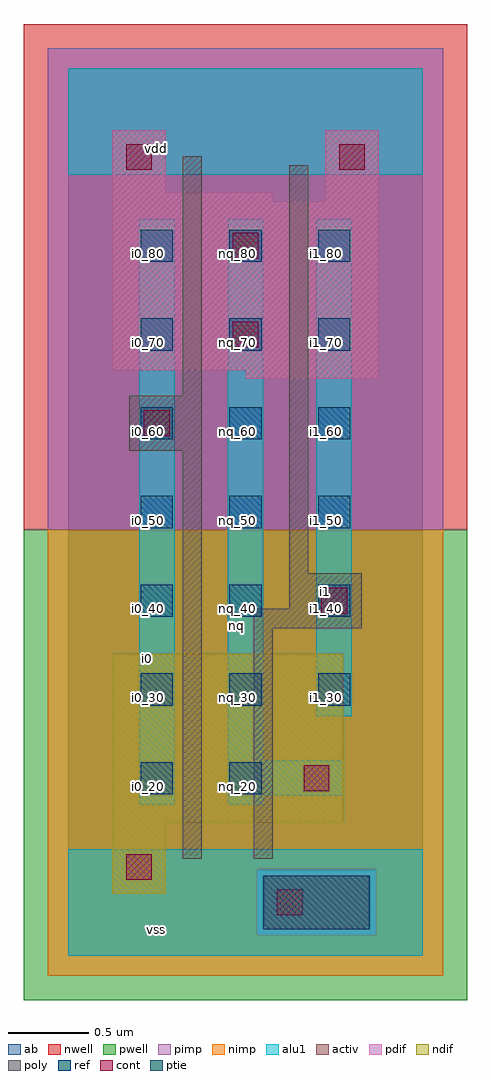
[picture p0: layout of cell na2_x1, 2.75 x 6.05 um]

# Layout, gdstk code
import gdstk
lib = gdstk.Library(unit=1e-6, precision=2.5e-09)
def R(c, l, rs):  # rectangles x0, y0, x1, y1
    for r in rs: c.add(gdstk.rectangle(r[:2], r[2:], *l))
def A(c, l, x, y, w, h, nx, ny, dx, dy):  # array of equal rectangles
    R(c, l, [(x+i*dx, y+j*dy, x+i*dx+w, y+j*dy+h) for i in range(nx) for j in range(ny)])
ndif = (3, 0)
pdif = (4, 0)
ptie = (6, 0)
ref = (24, 0)
cont = (25, 0)
pwell = (41, 0)
nwell = (42, 0)
activ = (43, 0)
pimp = (44, 0)
nimp = (45, 0)
poly = (46, 0)
alu1 = (49, 0)
ab = (63, 0)

na2_x1 = lib.new_cell('na2_x1')
R(na2_x1, ndif, [(0.275,0.385,0.605,0.825), (0.275,0.825,1.705,1.87)])
R(na2_x1, pdif, [(1.1,3.575,1.925,3.63), (0.275,3.63,1.925,4.675), (0.275,4.675,1.265,4.73), (1.595,4.675,1.925,5.115), (0.275,4.73,0.605,5.115)])
R(na2_x1, ptie, [(1.21,0.165,1.87,0.495)])
A(na2_x1, ref, 0.45, 1.55, 0.2, 0.2, 3, 6, 0.55, 0.55)
R(na2_x1, ref, [(0.45,1,0.65,1.2), (1,1,1.2,1.2)])
R(na2_x1, cont, [(1.295,0.25,1.455,0.41), (0.36,0.47,0.52,0.63), (1.46,1.02,1.62,1.18), (1.57,2.12,1.73,2.28), (0.47,3.22,0.63,3.38), (1.02,3.77,1.18,3.93), (1.02,4.32,1.18,4.48), (0.36,4.87,0.52,5.03), (1.68,4.87,1.84,5.03)])
R(na2_x1, pwell, [(-0.275,-0.275,2.475,2.64)])
R(na2_x1, nwell, [(-0.275,2.64,2.475,5.775)])
R(na2_x1, activ, [(1.21,0.165,1.87,0.495), (0.275,0.385,0.605,0.825), (0.275,0.825,1.705,1.87), (1.1,3.575,1.925,3.63), (0.275,3.63,1.925,4.675), (0.275,4.675,1.265,4.73), (1.595,4.675,1.925,5.115), (0.275,4.73,0.605,5.115)])
R(na2_x1, pimp, [(1.17,0.125,1.91,0.535), (-0.125,2.64,2.325,5.625)])
R(na2_x1, nimp, [(-0.125,-0.125,2.325,0.125), (-0.125,0.125,1.17,0.535), (1.91,0.125,2.325,0.535), (-0.125,0.535,2.325,2.64)])
R(na2_x1, poly, [(0.71,0.6,0.83,3.13), (1.15,0.6,1.27,2.03), (1.15,2.03,1.82,2.15), (1.37,2.15,1.82,2.37), (1.37,2.37,1.49,4.9), (0.38,3.13,0.83,3.47), (0.71,3.47,0.83,4.955)])
R(na2_x1, alu1, [(0,0,2.2,0.66), (0.44,0.935,0.66,4.565), (0.99,0.935,1.21,0.99), (0.99,0.99,1.705,1.21), (0.99,1.21,1.21,4.565), (1.54,1.485,1.76,4.565), (0,4.84,2.2,5.5)])
R(na2_x1, ab, [(0,0,2.2,5.5)])
na2_x1.add(gdstk.Label('vss', (0.55,0.165), layer=49, texttype=0))
na2_x1.add(gdstk.Label('i1', (1.595,2.255), layer=49, texttype=0))
na2_x1.add(gdstk.Label('nq', (1.045,2.0475), layer=49, texttype=0))
na2_x1.add(gdstk.Label('i0', (0.495,1.8425), layer=49, texttype=0))
na2_x1.add(gdstk.Label('vdd', (0.55,5.005), layer=49, texttype=0))
na2_x1.add(gdstk.Label('nq_20', (1.05,1.05), layer=24, texttype=0))
na2_x1.add(gdstk.Label('nq_30', (1.05,1.6), layer=24, texttype=0))
na2_x1.add(gdstk.Label('nq_40', (1.05,2.15), layer=24, texttype=0))
na2_x1.add(gdstk.Label('nq_50', (1.05,2.7), layer=24, texttype=0))
na2_x1.add(gdstk.Label('nq_60', (1.05,3.25), layer=24, texttype=0))
na2_x1.add(gdstk.Label('nq_70', (1.05,3.8), layer=24, texttype=0))
na2_x1.add(gdstk.Label('nq_80', (1.05,4.35), layer=24, texttype=0))
na2_x1.add(gdstk.Label('i1_80', (1.6,4.35), layer=24, texttype=0))
na2_x1.add(gdstk.Label('i1_70', (1.6,3.8), layer=24, texttype=0))
na2_x1.add(gdstk.Label('i1_60', (1.6,3.25), layer=24, texttype=0))
na2_x1.add(gdstk.Label('i1_50', (1.6,2.7), layer=24, texttype=0))
na2_x1.add(gdstk.Label('i1_40', (1.6,2.15), layer=24, texttype=0))
na2_x1.add(gdstk.Label('i1_30', (1.6,1.6), layer=24, texttype=0))
na2_x1.add(gdstk.Label('i0_20', (0.5,1.05), layer=24, texttype=0))
na2_x1.add(gdstk.Label('i0_30', (0.5,1.6), layer=24, texttype=0))
na2_x1.add(gdstk.Label('i0_40', (0.5,2.15), layer=24, texttype=0))
na2_x1.add(gdstk.Label('i0_50', (0.5,2.7), layer=24, texttype=0))
na2_x1.add(gdstk.Label('i0_60', (0.5,3.25), layer=24, texttype=0))
na2_x1.add(gdstk.Label('i0_70', (0.5,3.8), layer=24, texttype=0))
na2_x1.add(gdstk.Label('i0_80', (0.5,4.35), layer=24, texttype=0))

lib.write_gds('na2_x1.gds')
